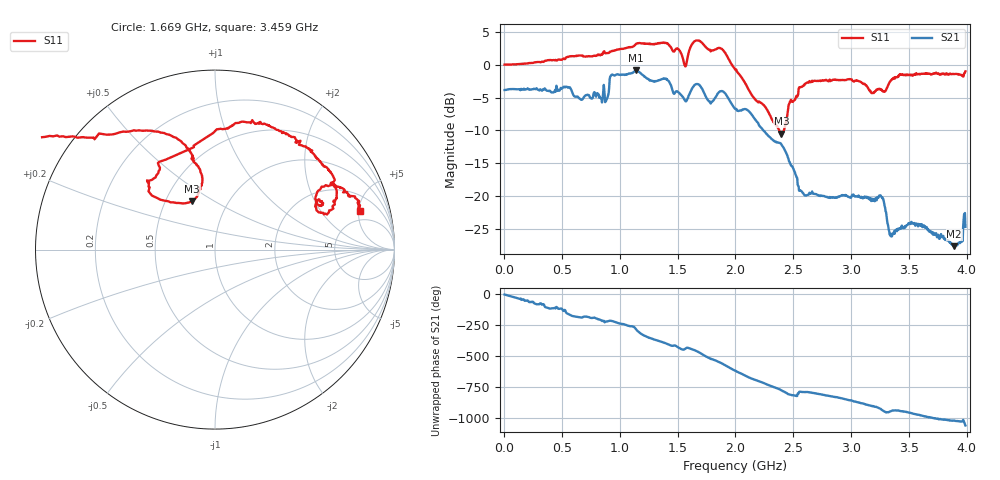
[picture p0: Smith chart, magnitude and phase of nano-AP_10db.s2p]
# HZ S RI R 50
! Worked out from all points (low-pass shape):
!   1023 points, 3.9 MHz to 3.99 GHz, reference 50 ohm
!   highest |S21| = -0.87 dB at 1.139 GHz (marker M1); lowest = -27.6 dB at 3.892 GHz (marker M2)
!   |S21| within 3 dB of the highest: 140.8 MHz to 300.7 MHz (159.9 MHz wide, 72.4 % of centre); 906.5 MHz to 1.456 GHz (549.1 MHz wide, 46.5 % of centre) (the widest 2 of 10)
!   lowest |S11| = -10.5 dB at 2.398 GHz (marker M3), VSWR 1.85, Z = 33.9 + j20.1 ohm
!   |S11| at or under -10 dB: 2.38 GHz to 2.419 GHz (39.67 MHz wide, 1.65 % of centre)
!   S12 and S22 are empty: the file has one direction only
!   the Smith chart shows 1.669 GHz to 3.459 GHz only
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3900000  1 -0.00365  0.6413 -0.00998  0 0  0 0
3.432e8  1.011 -0.2872  0.1049 -0.6367  0 0  0 0
5.07e8  1.001 -0.4718  -0.406 -0.5307  0 0  0 0
5.577e8  0.9965 -0.5702  -0.6273 -0.2394  0 0  0 0
6.708e8  0.9205 -0.7239  -0.5374 0.0572  0 0  0 0
9.36e8  0.7671 -1.011  -0.689 0.4807  0 0  0 0
1.1388e9  0.4137 -1.371  0.1411 0.8939  0 0  0 0
1.2012e9  0.0125 -1.45  0.6966 0.4521  0 0  0 0
1.3338e9  -0.4887 -1.369  0.7354 -0.183  0 0  0 0
1.521e9  -0.9875 -0.7942  0.1427 -0.5841  0 0  0 0
1.5834e9  -0.6585 -0.8736  0.1895 -0.5105  0 0  0 0
1.6692e9  -1.303 -0.796  -0.1101 -0.7041  0 0  0 0
1.8642e9  -1.289 0.3679  -0.6198 0.0748  0 0  0 0
1.9968e9  -0.6776 0.623  -0.1207 0.4451  0 0  0 0
2.1528e9  -0.1442 0.5511  0.3212 0.2442  0 0  0 0
2.3985e9  -0.1272 0.2698  0.1461 -0.1992  0 0  0 0
2.5116e9  -0.3134 0.4385  -0.012 -0.1534  0 0  0 0
2.6637e9  0.253 0.7114  0.0308 -0.1044  0 0  0 0
3.1512e9  0.6235 0.1955  -0.0955 -0.0102  0 0  0 0
3.3267e9  0.6166 0.359  -0.0362 0.0421  0 0  0 0
3.8922e9  0.8397 -0.118  0.0194 0.0369  0 0  0 0
3.9897e9  0.858 -0.2296  0.0537 0.0232  0 0  0 0
